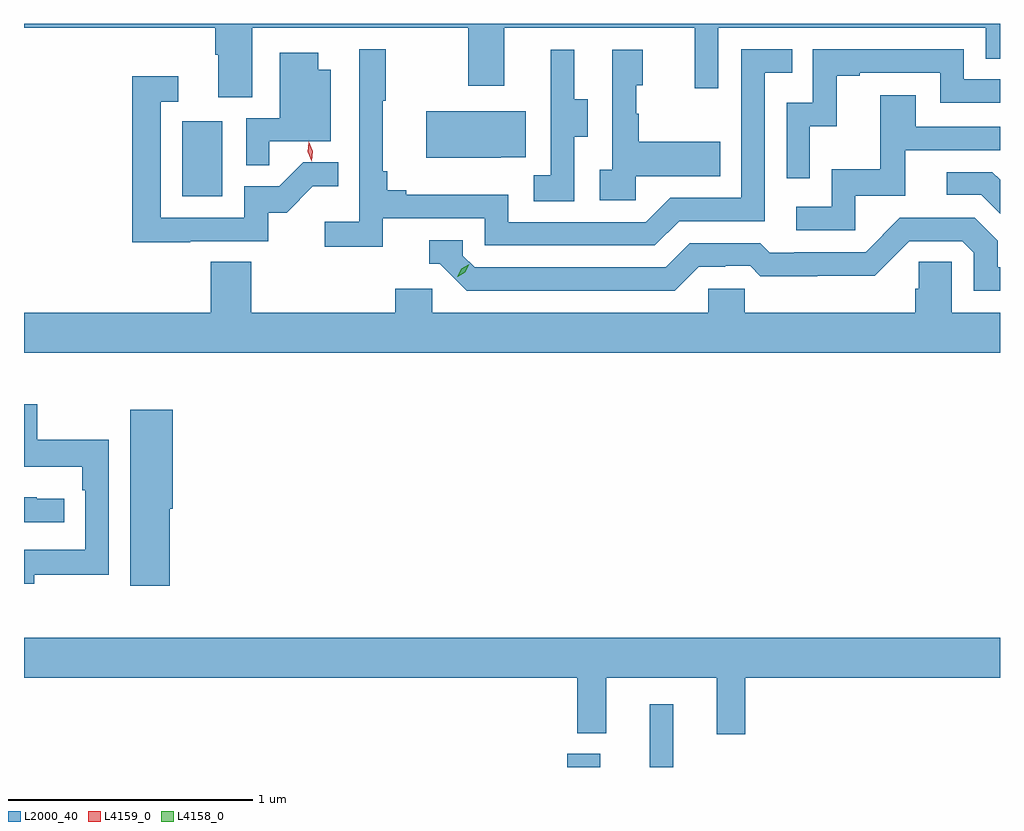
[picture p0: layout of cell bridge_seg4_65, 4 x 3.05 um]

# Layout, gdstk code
import gdstk
lib = gdstk.Library(unit=1e-6, precision=1e-09)
def R(c, l, rs):  # rectangles x0, y0, x1, y1
    for r in rs: c.add(gdstk.rectangle(r[:2], r[2:], *l))
def P(c, l, *ps):  # polygons
    for p in ps: c.add(gdstk.Polygon(p, *l))
L2000_40 = (2000, 40)
L4158_0 = (4158, 0)
L4159_0 = (4159, 0)

bridge_seg4_65 = lib.new_cell('bridge_seg4_65')
R(bridge_seg4_65, L2000_40, [(840.89,829.753,841.024,829.807), (841.227,829.753,841.324,830.011), (839.312,832.092,839.476,832.399)])
P(bridge_seg4_65, L2000_40, [(839.599,832.784),(840.484,832.784),(840.484,832.545),(840.631,832.545),(840.631,832.784),(841.412,832.784),(841.412,832.536),(841.509,832.536),(841.509,832.784),(842.604,832.784),(842.604,832.657),(842.663,832.657),(842.663,832.799),(838.663,832.799),(838.663,832.784),(839.447,832.784),(839.447,832.672),(839.459,832.672),(839.459,832.498),(839.599,832.498)],
  [(840.134,832.002),(840.552,832.002),(840.552,831.891),(841.249,831.891),(841.348,831.99),(841.698,831.99),(841.698,832.599),(841.811,832.599),(841.811,832.695),(841.602,832.695),(841.602,832.086),(841.311,832.086),(841.212,831.987),(840.648,831.987),(840.648,832.099),(840.229,832.099),(840.229,832.118),(840.152,832.118),(840.152,832.195),(840.133,832.195),(840.133,832.483),(840.145,832.483),(840.145,832.696),(840.036,832.696),(840.036,831.988),(839.895,831.988),(839.895,831.886),(840.134,831.886)],
  [(841.884,832.379),(841.994,832.379),(841.994,832.587),(842.089,832.587),(842.089,832.599),(842.418,832.599),(842.418,832.476),(842.663,832.476),(842.663,832.572),(842.514,832.572),(842.514,832.695),(841.896,832.695),(841.896,832.476),(841.788,832.476),(841.788,832.167),(841.884,832.167)],
  [(841.17,832.175),(841.517,832.175),(841.517,832.315),(841.183,832.315),(841.183,832.43),(841.173,832.43),(841.173,832.548),(841.198,832.548),(841.198,832.693),(841.074,832.693),(841.074,832.202),(841.023,832.202),(841.023,832.077),(841.17,832.077)],
  [(840.918,832.336),(840.973,832.336),(840.973,832.491),(840.919,832.491),(840.919,832.693),(840.821,832.693),(840.821,832.479),(840.822,832.479),(840.822,832.179),(840.753,832.179),(840.753,832.072),(840.918,832.072)],
  [(839.669,832.317),(839.92,832.317),(839.92,832.612),(839.869,832.612),(839.869,832.681),(839.711,832.681),(839.711,832.413),(839.574,832.413),(839.574,832.219),(839.669,832.219)],
  [(839.345,831.909),(839.664,831.909),(839.664,832.026),(839.74,832.026),(839.847,832.133),(839.951,832.133),(839.951,832.231),(839.807,832.231),(839.71,832.134),(839.565,832.134),(839.565,832.005),(839.223,832.005),(839.223,832.479),(839.296,832.479),(839.296,832.585),(839.107,832.585),(839.107,831.904),(839.345,831.904)],
  [(842.07,832.095),(842.275,832.095),(842.275,832.281),(842.663,832.281),(842.663,832.377),(842.317,832.377),(842.317,832.507),(842.173,832.507),(842.173,832.204),(841.974,832.204),(841.974,832.05),(841.827,832.05),(841.827,831.954),(842.07,831.954)],
  [(840.617,832.253),(840.719,832.253),(840.719,832.441),(840.311,832.441),(840.311,832.25),(840.617,832.25)],
  [(842.663,832.16),(842.632,832.191),(842.445,832.191),(842.445,832.098),(842.586,832.098),(842.663,832.021)],
  [(841.429,831.804),(841.536,831.804),(841.536,831.807),(841.639,831.807),(841.681,831.765),(841.914,831.765),(841.914,831.767),(842.15,831.767),(842.292,831.909),(842.508,831.909),(842.556,831.861),(842.556,831.705),(842.663,831.705),(842.663,831.801),(842.653,831.801),(842.653,831.911),(842.559,832.005),(842.253,832.005),(842.112,831.864),(841.819,831.864),(841.819,831.861),(841.72,831.861),(841.681,831.9),(841.392,831.9),(841.293,831.801),(840.51,831.801),(840.462,831.849),(840.462,831.912),(840.323,831.912),(840.323,831.816),(840.366,831.816),(840.477,831.705),(841.33,831.705)],
  [(842.663,831.616),(842.466,831.616),(842.466,831.824),(842.329,831.824),(842.329,831.714),(842.315,831.714),(842.315,831.616),(841.617,831.616),(841.617,831.714),(841.467,831.714),(841.467,831.616),(840.336,831.616),(840.336,831.714),(840.185,831.714),(840.185,831.616),(839.594,831.616),(839.594,831.824),(839.429,831.824),(839.429,831.616),(838.663,831.616),(838.663,831.452),(842.663,831.452)],
  [(838.705,830.542),(839.01,830.542),(839.01,831.094),(838.717,831.094),(838.717,831.24),(838.663,831.24),(838.663,830.984),(838.901,830.984),(838.901,830.888),(838.914,830.888),(838.914,830.643),(838.663,830.643),(838.663,830.504),(838.705,830.504)],
  [(839.26,830.811),(839.272,830.811),(839.272,831.217),(839.099,831.217),(839.099,830.496),(839.26,830.496)],
  [(838.828,830.853),(838.715,830.853),(838.715,830.858),(838.663,830.858),(838.663,830.757),(838.828,830.757)],
  [(841.619,830.12),(842.663,830.12),(842.663,830.284),(838.663,830.284),(838.663,830.12),(840.931,830.12),(840.931,829.892),(841.049,829.892),(841.049,830.12),(841.502,830.12),(841.502,829.887),(841.619,829.887)])
P(bridge_seg4_65, L4158_0, [(840.439,831.762),(840.439,831.763),(840.456,831.795),(840.487,831.814),(840.487,831.814),(840.487,831.814),(840.471,831.781),(840.44,831.762)])
P(bridge_seg4_65, L4159_0, [(839.842,832.236),(839.826,832.275),(839.829,832.316),(839.829,832.317),(839.83,832.316),(839.846,832.278),(839.843,832.236),(839.843,832.236)])

lib.write_gds('bridge_seg4_65.gds')
